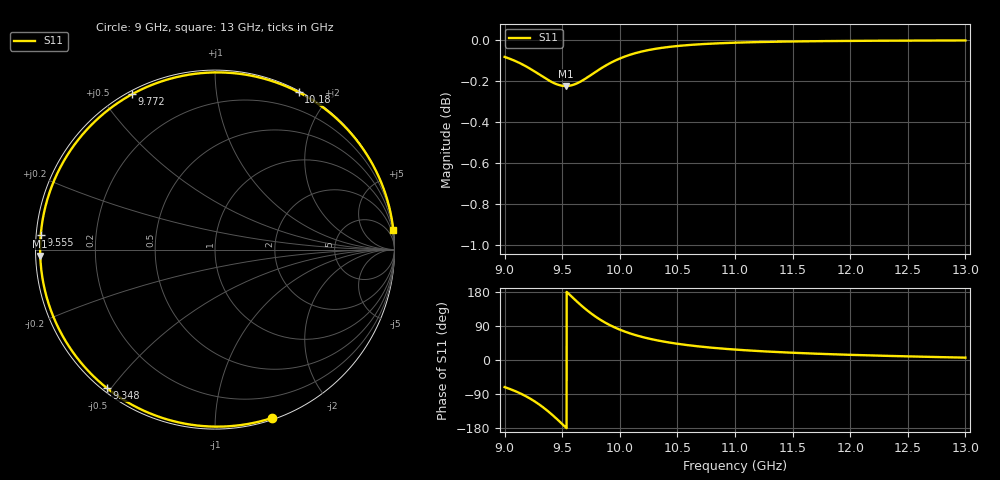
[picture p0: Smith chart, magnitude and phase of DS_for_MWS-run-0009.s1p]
! TOUCHSTONE file generated by CST DESIGN STUDIO
! Date and time: Tue Feb  4 12:20:54 2025
! Project name: C:\Work\MatlabApps\UnitCellOptimizationMatlab\CST\unitcell.cst
! Tree item: Tasks\Sweep1\SPara1\S-Parameters
! Header version: 2024
! Port assignment regex: !\s*Touchstone port\s*([0-9]+)\s*=\s*(CST MWS port|CST DES external port|CST DES block port)\s*(.+)\s* \(\"(.*)\"\)(\s*mode\s*([0-9]+))?.*
! Touchstone port assignment:
! Touchstone port 1 = CST DES external port 1 ("")
# GHz S MA R 50
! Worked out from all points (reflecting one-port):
!   4001 points, 9 GHz to 13 GHz, reference 50 ohm
!   lowest |S11| = -0.2 dB at 9.531 GHz (marker M1), VSWR 76.84, Z = 0.651 - j0.907 ohm
!   phase of S11 starts at -71 deg and turns -282 deg over the sweep
!   S11 on the Smith chart (normalised r, x): 9 GHz: 0.01, -1.39; 9.348 GHz: 0.01, -0.49; 9.555 GHz: 0.01, +0.04; 9.772 GHz: 0.01, +0.60; 10.18 GHz: 0.01, +1.67; 13 GHz: 0, +18
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9  0.9903 -71.5
9.097  0.9879 -82.8
9.205  0.9844 -99.0
9.28  0.9815 -113.1
9.348  0.9787 -128.1
9.42  0.9761 -146.4
9.462  0.9751 -158.0
9.5  0.9745 -168.9
9.531  0.9743 -177.9
9.555  0.9744 175.1
9.609  0.9753 159.5
9.67  0.9771 142.7
9.721  0.9791 129.9
9.772  0.9813 118.2
9.82  0.9833 108.3
9.873  0.9854 98.7
9.932  0.9874 89.3
10  0.9894 80.1
10.086  0.9915 70.5
10.18  0.9931 61.9
10.326  0.995 51.7
10.5  0.9964 42.8
10.721  0.9974 34.7
11  0.9982 27.5
11.5  0.9989 19.1
12  0.9992 13.6
12.5  0.9994 9.5
13  0.9995 6.2
